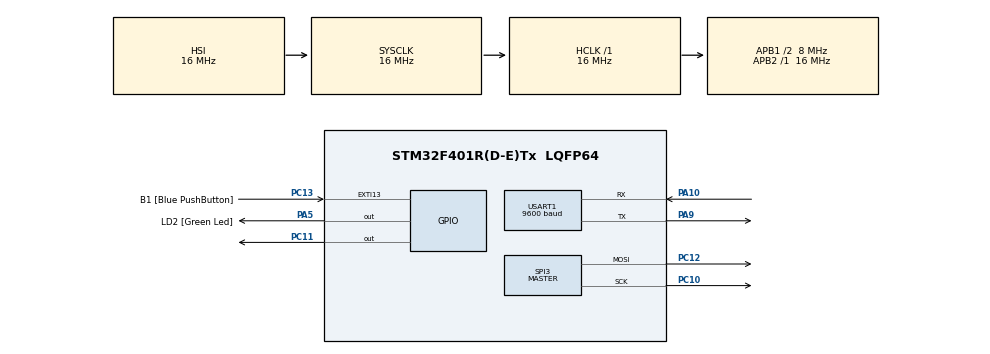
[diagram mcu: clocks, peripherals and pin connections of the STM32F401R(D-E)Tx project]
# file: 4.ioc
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Mcu.Family=STM32F4
Mcu.Name=STM32F401R(D-E)Tx
Mcu.Package=LQFP64
NVIC.PriorityGroup=NVIC_PRIORITYGROUP_0
NVIC.USART1_IRQn=true\:0\:0\:false\:false\:true\:true\:true\:true
PA10.Mode=Asynchronous
PA10.Signal=USART1_RX
PA13.GPIO_Label=TMS
PA13.Mode=Serial_Wire
PA13.Signal=SYS_JTMS-SWDIO
PA14.GPIO_Label=TCK
PA14.Mode=Serial_Wire
PA14.Signal=SYS_JTCK-SWCLK
PA5.GPIO_Label=LD2 [Green Led]
PA5.GPIO_Mode=GPIO_MODE_OUTPUT_PP
PA5.GPIO_PuPd=GPIO_NOPULL
PA5.GPIO_Speed=GPIO_SPEED_FREQ_LOW
PA5.Signal=GPIO_Output
PA9.Mode=Asynchronous
PA9.Signal=USART1_TX
PB3.GPIO_Label=SWO
PB3.Signal=SYS_JTDO-SWO
PC10.Mode=TX_Only_Simplex_Unidirect_Master
PC10.Signal=SPI3_SCK
PC11.Signal=GPIO_Output
PC12.Mode=TX_Only_Simplex_Unidirect_Master
PC12.Signal=SPI3_MOSI
PC13-ANTI_TAMP.GPIO_Label=B1 [Blue PushButton]
PC13-ANTI_TAMP.GPIO_ModeDefaultEXTI=GPIO_MODE_IT_FALLING
PC13-ANTI_TAMP.GPIO_PuPd=GPIO_NOPULL
PC13-ANTI_TAMP.Signal=GPXTI13
PC14-OSC32_IN.Mode=LSE-External-Oscillator
PC14-OSC32_IN.Signal=RCC_OSC32_IN
PC15-OSC32_OUT.Mode=LSE-External-Oscillator
PC15-OSC32_OUT.Signal=RCC_OSC32_OUT
PH0\ -\ OSC_IN.Mode=HSE-External-Clock-Source
PH0\ -\ OSC_IN.Signal=RCC_OSC_IN
PH1\ -\ OSC_OUT.Mode=HSE-External-Clock-Source
PH1\ -\ OSC_OUT.Signal=RCC_OSC_OUT
ProjectManager.HeapSize=0x200
ProjectManager.StackSize=0x400
ProjectManager.TargetToolchain=MDK-ARM V5.32
RCC.48MHZClocksFreq_Value=48000000
RCC.AHBFreq_Value=16000000
RCC.APB1CLKDivider=RCC_HCLK_DIV2
RCC.APB1Freq_Value=8000000
RCC.APB1TimFreq_Value=16000000
RCC.APB2Freq_Value=16000000
RCC.APB2TimFreq_Value=16000000
RCC.CortexFreq_Value=16000000
RCC.HCLKFreq_Value=16000000
RCC.HSE_VALUE=8000000
RCC.HSI_VALUE=16000000
RCC.PLLN=336
RCC.PLLP=RCC_PLLP_DIV4
RCC.PLLQ=7
RCC.SYSCLKFreq_VALUE=16000000
RCC.VCOOutputFreq_Value=336000000
SPI3.Direction=SPI_DIRECTION_2LINES
SPI3.Mode=SPI_MODE_MASTER
SPI3.VirtualType=VM_MASTER
USART1.BaudRate=9600
USART1.VirtualMode=VM_ASYNC
board=NUCLEO-F401RE

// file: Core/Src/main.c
/* USER CODE BEGIN Header */
/**
  ******************************************************************************
  * @file           : main.c
  * @brief          : Main program body
  ******************************************************************************
  * @attention
  *
  * Copyright (c) 2023 STMicroelectronics.
  * All rights reserved.
  *
  * This software is licensed under terms that can be found in the LICENSE file
  * in the root directory of this software component.
  * If no LICENSE file comes with this software, it is provided AS-IS.
  *
  ******************************************************************************
  */
/* USER CODE END Header */
#include "main.h"

 SPI_HandleTypeDef hspi3;

UART_HandleTypeDef huart1;

/* USER CODE BEGIN PV */
uint8_t Buffer;
/* USER CODE END PV */

void SystemClock_Config(void);
static void MX_GPIO_Init(void);
static void MX_USART1_UART_Init(void);
static void MX_SPI3_Init(void);

/* USER CODE BEGIN 0 */
void transmit(uint8_t add,uint8_t data){
uint8_t tx_buffer[0];
HAL_GPIO_WritePin(GPIOC,GPIO_PIN_11,0);
tx_buffer[0]=add;
HAL_SPI_Transmit(&hspi3,tx_buffer,1,0xffff);
tx_buffer[0]=data;
HAL_SPI_Transmit(&hspi3,tx_buffer,1,0xffff);
HAL_GPIO_WritePin(GPIOC,GPIO_PIN_11,1);

}
void max7219_init(){
	transmit(0x09,0xff); // ENABLE ENCODER FOR ALL 7SEG
	transmit(0x0A,0x0F); // MAX INTENSITY
	transmit(0x0B,0x03); // SCAN 4 7SEG
	transmit(0x0C,0x01); // TURN ON
	transmit(0x0f,0x0); // NORMAL OPERATION
}
void HAL_UART_RxCpltCallback(UART_HandleTypeDef *huart)
{
	transmit(0x01,Buffer);
	HAL_UART_Transmit(&huart1, &Buffer, sizeof(Buffer), HAL_MAX_DELAY);
	HAL_UART_Receive_IT( &huart1, &Buffer, sizeof(Buffer));
}
/* USER CODE END 0 */

int main(void)
{

  /* MCU Configuration--------------------------------------------------------*/

  /* Reset of all peripherals, Initializes the Flash interface and the Systick. */
  HAL_Init();

  /* Configure the system clock */
  SystemClock_Config();

  /* Initialize all configured peripherals */
  MX_GPIO_Init();
  MX_USART1_UART_Init();
  MX_SPI3_Init();
  /* USER CODE BEGIN 2 */
	HAL_UART_Receive_IT( &huart1, &Buffer, sizeof(Buffer));

  /* USER CODE END 2 */

  /* Infinite loop */
  while (1)
  {

  }
}

void SystemClock_Config(void)
{
  RCC_OscInitTypeDef RCC_OscInitStruct = {0};
  RCC_ClkInitTypeDef RCC_ClkInitStruct = {0};

  /** Configure the main internal regulator output voltage
  */
  __HAL_RCC_PWR_CLK_ENABLE();
  __HAL_PWR_VOLTAGESCALING_CONFIG(PWR_REGULATOR_VOLTAGE_SCALE2);

  /** Initializes the RCC Oscillators according to the specified parameters
  * in the RCC_OscInitTypeDef structure.
  */
  RCC_OscInitStruct.OscillatorType = RCC_OSCILLATORTYPE_HSI;
  RCC_OscInitStruct.HSIState = RCC_HSI_ON;
  RCC_OscInitStruct.HSICalibrationValue = RCC_HSICALIBRATION_DEFAULT;
  RCC_OscInitStruct.PLL.PLLState = RCC_PLL_NONE;
  if (HAL_RCC_OscConfig(&RCC_OscInitStruct) != HAL_OK)
  {
    Error_Handler();
  }

  /** Initializes the CPU, AHB and APB buses clocks
  */
  RCC_ClkInitStruct.ClockType = RCC_CLOCKTYPE_HCLK|RCC_CLOCKTYPE_SYSCLK
                              |RCC_CLOCKTYPE_PCLK1|RCC_CLOCKTYPE_PCLK2;
  RCC_ClkInitStruct.SYSCLKSource = RCC_SYSCLKSOURCE_HSI;
  RCC_ClkInitStruct.AHBCLKDivider = RCC_SYSCLK_DIV1;
  RCC_ClkInitStruct.APB1CLKDivider = RCC_HCLK_DIV2;
  RCC_ClkInitStruct.APB2CLKDivider = RCC_HCLK_DIV1;

  if (HAL_RCC_ClockConfig(&RCC_ClkInitStruct, FLASH_LATENCY_0) != HAL_OK)
  {
    Error_Handler();
  }
}

static void MX_SPI3_Init(void)
{

  /* SPI3 parameter configuration*/
  hspi3.Instance = SPI3;
  hspi3.Init.Mode = SPI_MODE_MASTER;
  hspi3.Init.Direction = SPI_DIRECTION_2LINES;
  hspi3.Init.DataSize = SPI_DATASIZE_8BIT;
  hspi3.Init.CLKPolarity = SPI_POLARITY_LOW;
  hspi3.Init.CLKPhase = SPI_PHASE_1EDGE;
  hspi3.Init.NSS = SPI_NSS_SOFT;
  hspi3.Init.BaudRatePrescaler = SPI_BAUDRATEPRESCALER_2;
  hspi3.Init.FirstBit = SPI_FIRSTBIT_MSB;
  hspi3.Init.TIMode = SPI_TIMODE_DISABLE;
  hspi3.Init.CRCCalculation = SPI_CRCCALCULATION_DISABLE;
  hspi3.Init.CRCPolynomial = 10;
  if (HAL_SPI_Init(&hspi3) != HAL_OK)
  {
    Error_Handler();
  }

}

static void MX_USART1_UART_Init(void)
{

  huart1.Instance = USART1;
  huart1.Init.BaudRate = 9600;
  huart1.Init.WordLength = UART_WORDLENGTH_8B;
  huart1.Init.StopBits = UART_STOPBITS_1;
  huart1.Init.Parity = UART_PARITY_NONE;
  huart1.Init.Mode = UART_MODE_TX_RX;
  huart1.Init.HwFlowCtl = UART_HWCONTROL_NONE;
  huart1.Init.OverSampling = UART_OVERSAMPLING_16;
  if (HAL_UART_Init(&huart1) != HAL_OK)
  {
    Error_Handler();
  }

}

static void MX_GPIO_Init(void)
{
  GPIO_InitTypeDef GPIO_InitStruct = {0};

  /* GPIO Ports Clock Enable */
  __HAL_RCC_GPIOC_CLK_ENABLE();
  __HAL_RCC_GPIOH_CLK_ENABLE();
  __HAL_RCC_GPIOA_CLK_ENABLE();
  __HAL_RCC_GPIOB_CLK_ENABLE();

  /*Configure GPIO pin Output Level */
  HAL_GPIO_WritePin(LD2_GPIO_Port, LD2_Pin, GPIO_PIN_RESET);

  /*Configure GPIO pin Output Level */
  HAL_GPIO_WritePin(GPIOC, GPIO_PIN_11, GPIO_PIN_RESET);

  /*Configure GPIO pin : B1_Pin */
  GPIO_InitStruct.Pin = B1_Pin;
  GPIO_InitStruct.Mode = GPIO_MODE_IT_FALLING;
  GPIO_InitStruct.Pull = GPIO_NOPULL;
  HAL_GPIO_Init(B1_GPIO_Port, &GPIO_InitStruct);

  /*Configure GPIO pin : LD2_Pin */
  GPIO_InitStruct.Pin = LD2_Pin;
  GPIO_InitStruct.Mode = GPIO_MODE_OUTPUT_PP;
  GPIO_InitStruct.Pull = GPIO_NOPULL;
  GPIO_InitStruct.Speed = GPIO_SPEED_FREQ_LOW;
  HAL_GPIO_Init(LD2_GPIO_Port, &GPIO_InitStruct);

  /*Configure GPIO pin : PC11 */
  GPIO_InitStruct.Pin = GPIO_PIN_11;
  GPIO_InitStruct.Mode = GPIO_MODE_OUTPUT_PP;
  GPIO_InitStruct.Pull = GPIO_NOPULL;
  GPIO_InitStruct.Speed = GPIO_SPEED_FREQ_LOW;
  HAL_GPIO_Init(GPIOC, &GPIO_InitStruct);

}

void Error_Handler(void)
{
  __disable_irq();
  while (1)
  {
  }
}
